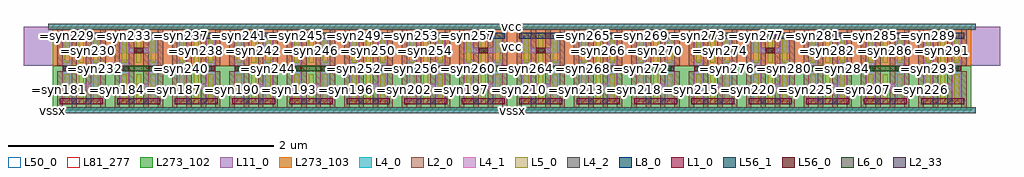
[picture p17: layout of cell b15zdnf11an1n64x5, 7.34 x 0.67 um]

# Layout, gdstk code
import gdstk
lib = gdstk.Library(unit=1e-6, precision=5e-10)
def R(c, l, rs):  # rectangles x0, y0, x1, y1
    for r in rs: c.add(gdstk.rectangle(r[:2], r[2:], *l))
def A(c, l, x, y, w, h, nx, ny, dx, dy):  # array of equal rectangles
    R(c, l, [(x+i*dx, y+j*dy, x+i*dx+w, y+j*dy+h) for i in range(nx) for j in range(ny)])
def P(c, l, *ps):  # polygons
    for p in ps: c.add(gdstk.Polygon(p, *l))
L1_0 = (1, 0)
L2_0 = (2, 0)
L2_33 = (2, 33)
L4_0 = (4, 0)
L4_1 = (4, 1)
L4_2 = (4, 2)
L5_0 = (5, 0)
L6_0 = (6, 0)
L8_0 = (8, 0)
L11_0 = (11, 0)
L50_0 = (50, 0)
L56_0 = (56, 0)
L56_1 = (56, 1)
L81_277 = (81, 277)
L273_102 = (273, 102)
L273_103 = (273, 103)

b15zdnf11an1n64x5 = lib.new_cell('b15zdnf11an1n64x5')
A(b15zdnf11an1n64x5, L1_0, 0.054, 0.045, 0.324, 0.045, 16, 1, 0.432, 0)
R(b15zdnf11an1n64x5, L2_0, [(0.034,0.021,0.074,0.294), (0.142,0.021,0.182,0.609), (0.25,0.021,0.29,0.609), (0.358,0.021,0.398,0.294), (0.466,0.021,0.506,0.294), (0.574,0.021,0.614,0.609), (0.682,0.021,0.722,0.609), (0.79,0.021,0.83,0.294), (0.898,0.021,0.938,0.294), (1.006,0.021,1.046,0.609), (1.114,0.021,1.154,0.609), (1.222,0.021,1.262,0.294), (1.33,0.021,1.37,0.294), (1.438,0.021,1.478,0.609), (1.546,0.021,1.586,0.609), (1.654,0.021,1.694,0.294), (1.762,0.021,1.802,0.294), (1.87,0.021,1.91,0.609), (1.978,0.021,2.018,0.609), (2.086,0.021,2.126,0.294), (2.194,0.021,2.234,0.294), (2.302,0.021,2.342,0.609), (2.41,0.021,2.45,0.609), (2.518,0.021,2.558,0.294), (2.626,0.021,2.666,0.294), (2.734,0.021,2.774,0.609), (2.842,0.021,2.882,0.609), (2.95,0.021,2.99,0.294), (3.058,0.021,3.098,0.294), (3.166,0.021,3.206,0.609), (3.274,0.021,3.314,0.609), (3.382,0.021,3.422,0.294), (3.49,0.021,3.53,0.294), (3.598,0.021,3.638,0.609), (3.706,0.021,3.746,0.609), (3.814,0.021,3.854,0.294), (3.922,0.021,3.962,0.294), (4.03,0.021,4.07,0.609), (4.138,0.021,4.178,0.609), (4.246,0.021,4.286,0.294), (4.354,0.021,4.394,0.294), (4.462,0.021,4.502,0.609), (4.57,0.021,4.61,0.609), (4.678,0.021,4.718,0.294), (4.786,0.021,4.826,0.294), (4.894,0.021,4.934,0.609), (5.002,0.021,5.042,0.609), (5.11,0.021,5.15,0.294), (5.218,0.021,5.258,0.294), (5.326,0.021,5.366,0.609), (5.434,0.021,5.474,0.609), (5.542,0.021,5.582,0.294), (5.65,0.021,5.69,0.294), (5.758,0.021,5.798,0.609), (5.866,0.021,5.906,0.609), (5.974,0.021,6.014,0.294), (6.082,0.021,6.122,0.294), (6.19,0.021,6.23,0.609), (6.298,0.021,6.338,0.609), (6.406,0.021,6.446,0.294), (6.514,0.021,6.554,0.294), (6.622,0.021,6.662,0.609), (6.73,0.021,6.77,0.609), (6.838,0.021,6.878,0.294), (0.034,0.336,0.074,0.609), (0.358,0.336,0.398,0.609), (0.466,0.336,0.506,0.609), (0.79,0.336,0.83,0.609), (0.898,0.336,0.938,0.609), (1.222,0.336,1.262,0.609), (1.33,0.336,1.37,0.609), (1.654,0.336,1.694,0.609), (1.762,0.336,1.802,0.609), (2.086,0.336,2.126,0.609), (2.194,0.336,2.234,0.609), (2.518,0.336,2.558,0.609), (2.626,0.336,2.666,0.609), (2.95,0.336,2.99,0.609), (3.058,0.336,3.098,0.609), (3.382,0.336,3.422,0.609), (3.49,0.336,3.53,0.609), (3.814,0.336,3.854,0.609), (3.922,0.336,3.962,0.609), (4.246,0.336,4.286,0.609), (4.354,0.336,4.394,0.609), (4.678,0.336,4.718,0.609), (4.786,0.336,4.826,0.609), (5.11,0.336,5.15,0.609), (5.218,0.336,5.258,0.609), (5.542,0.336,5.582,0.609), (5.65,0.336,5.69,0.609), (5.974,0.336,6.014,0.609), (6.082,0.336,6.122,0.609), (6.406,0.336,6.446,0.609), (6.514,0.336,6.554,0.609), (6.838,0.336,6.878,0.609)])
R(b15zdnf11an1n64x5, L2_33, [(0.142,0.045,0.182,0.09), (0.25,0.045,0.29,0.09), (0.574,0.045,0.614,0.09), (0.682,0.045,0.722,0.09), (1.006,0.045,1.046,0.09), (1.114,0.045,1.154,0.09), (1.438,0.045,1.478,0.09), (1.546,0.045,1.586,0.09), (1.87,0.045,1.91,0.09), (1.978,0.045,2.018,0.09), (2.302,0.045,2.342,0.09), (2.41,0.045,2.45,0.09), (2.734,0.045,2.774,0.09), (2.842,0.045,2.882,0.09), (3.166,0.045,3.206,0.09), (3.274,0.045,3.314,0.09), (3.598,0.045,3.638,0.09), (3.706,0.045,3.746,0.09), (4.03,0.045,4.07,0.09), (4.138,0.045,4.178,0.09), (4.462,0.045,4.502,0.09), (4.57,0.045,4.61,0.09), (4.894,0.045,4.934,0.09), (5.002,0.045,5.042,0.09), (5.326,0.045,5.366,0.09), (5.434,0.045,5.474,0.09), (5.758,0.045,5.798,0.09), (5.866,0.045,5.906,0.09), (6.19,0.045,6.23,0.09), (6.298,0.045,6.338,0.09), (6.622,0.045,6.662,0.09), (6.73,0.045,6.77,0.09), (0.142,0.54,0.182,0.585), (0.25,0.54,0.29,0.585), (0.574,0.54,0.614,0.585), (0.682,0.54,0.722,0.585), (1.006,0.54,1.046,0.585), (1.114,0.54,1.154,0.585), (1.438,0.54,1.478,0.585), (1.546,0.54,1.586,0.585), (1.87,0.54,1.91,0.585), (1.978,0.54,2.018,0.585), (2.302,0.54,2.342,0.585), (2.41,0.54,2.45,0.585), (2.734,0.54,2.774,0.585), (2.842,0.54,2.882,0.585), (3.166,0.54,3.206,0.585), (3.274,0.54,3.314,0.585), (3.598,0.54,3.638,0.585), (3.706,0.54,3.746,0.585), (4.03,0.54,4.07,0.585), (4.138,0.54,4.178,0.585), (4.462,0.54,4.502,0.585), (4.57,0.54,4.61,0.585), (4.894,0.54,4.934,0.585), (5.002,0.54,5.042,0.585), (5.326,0.54,5.366,0.585), (5.434,0.54,5.474,0.585), (5.758,0.54,5.798,0.585), (5.866,0.54,5.906,0.585), (6.19,0.54,6.23,0.585), (6.298,0.54,6.338,0.585), (6.622,0.54,6.662,0.585), (6.73,0.54,6.77,0.585)])
R(b15zdnf11an1n64x5, L4_0, [(-0.034,-0.022,6.946,0.022), (-0.034,0.608,6.946,0.652)])
P(b15zdnf11an1n64x5, L4_0, [(0.358,0.428),(0.074,0.428),(0.074,0.562),(0.142,0.562),(0.142,0.472),(0.29,0.472),(0.29,0.562),(0.358,0.562)],
  [(0.358,0.068),(0.29,0.068),(0.29,0.158),(0.142,0.158),(0.142,0.068),(0.074,0.068),(0.074,0.382),(0.142,0.382),(0.142,0.202),(0.29,0.202),(0.29,0.382),(0.358,0.382)],
  [(0.79,0.428),(0.506,0.428),(0.506,0.562),(0.574,0.562),(0.574,0.472),(0.722,0.472),(0.722,0.562),(0.79,0.562)],
  [(0.79,0.068),(0.722,0.068),(0.722,0.158),(0.574,0.158),(0.574,0.068),(0.506,0.068),(0.506,0.382),(0.574,0.382),(0.574,0.202),(0.722,0.202),(0.722,0.382),(0.79,0.382)],
  [(1.222,0.428),(0.938,0.428),(0.938,0.562),(1.006,0.562),(1.006,0.472),(1.154,0.472),(1.154,0.562),(1.222,0.562)],
  [(1.222,0.068),(1.154,0.068),(1.154,0.158),(1.006,0.158),(1.006,0.068),(0.938,0.068),(0.938,0.382),(1.006,0.382),(1.006,0.202),(1.154,0.202),(1.154,0.382),(1.222,0.382)],
  [(1.654,0.428),(1.37,0.428),(1.37,0.562),(1.438,0.562),(1.438,0.472),(1.586,0.472),(1.586,0.562),(1.654,0.562)],
  [(1.654,0.068),(1.586,0.068),(1.586,0.158),(1.438,0.158),(1.438,0.068),(1.37,0.068),(1.37,0.382),(1.438,0.382),(1.438,0.202),(1.586,0.202),(1.586,0.382),(1.654,0.382)],
  [(2.086,0.428),(1.802,0.428),(1.802,0.562),(1.87,0.562),(1.87,0.472),(2.018,0.472),(2.018,0.562),(2.086,0.562)],
  [(2.086,0.068),(2.018,0.068),(2.018,0.158),(1.87,0.158),(1.87,0.068),(1.802,0.068),(1.802,0.382),(1.87,0.382),(1.87,0.202),(2.018,0.202),(2.018,0.382),(2.086,0.382)],
  [(2.518,0.428),(2.234,0.428),(2.234,0.562),(2.302,0.562),(2.302,0.472),(2.45,0.472),(2.45,0.562),(2.518,0.562)],
  [(2.518,0.068),(2.45,0.068),(2.45,0.158),(2.302,0.158),(2.302,0.068),(2.234,0.068),(2.234,0.382),(2.302,0.382),(2.302,0.202),(2.45,0.202),(2.45,0.382),(2.518,0.382)],
  [(2.95,0.428),(2.666,0.428),(2.666,0.562),(2.734,0.562),(2.734,0.472),(2.882,0.472),(2.882,0.562),(2.95,0.562)],
  [(2.95,0.068),(2.882,0.068),(2.882,0.158),(2.734,0.158),(2.734,0.068),(2.666,0.068),(2.666,0.382),(2.734,0.382),(2.734,0.202),(2.882,0.202),(2.882,0.382),(2.95,0.382)],
  [(3.382,0.428),(3.098,0.428),(3.098,0.562),(3.166,0.562),(3.166,0.472),(3.314,0.472),(3.314,0.562),(3.382,0.562)],
  [(3.382,0.068),(3.314,0.068),(3.314,0.158),(3.166,0.158),(3.166,0.068),(3.098,0.068),(3.098,0.382),(3.166,0.382),(3.166,0.202),(3.314,0.202),(3.314,0.382),(3.382,0.382)],
  [(3.814,0.428),(3.53,0.428),(3.53,0.562),(3.598,0.562),(3.598,0.472),(3.746,0.472),(3.746,0.562),(3.814,0.562)],
  [(3.814,0.068),(3.746,0.068),(3.746,0.158),(3.598,0.158),(3.598,0.068),(3.53,0.068),(3.53,0.382),(3.598,0.382),(3.598,0.202),(3.746,0.202),(3.746,0.382),(3.814,0.382)],
  [(4.246,0.428),(3.962,0.428),(3.962,0.562),(4.03,0.562),(4.03,0.472),(4.178,0.472),(4.178,0.562),(4.246,0.562)],
  [(4.246,0.068),(4.178,0.068),(4.178,0.158),(4.03,0.158),(4.03,0.068),(3.962,0.068),(3.962,0.382),(4.03,0.382),(4.03,0.202),(4.178,0.202),(4.178,0.382),(4.246,0.382)],
  [(4.678,0.428),(4.394,0.428),(4.394,0.562),(4.462,0.562),(4.462,0.472),(4.61,0.472),(4.61,0.562),(4.678,0.562)],
  [(4.678,0.068),(4.61,0.068),(4.61,0.158),(4.462,0.158),(4.462,0.068),(4.394,0.068),(4.394,0.382),(4.462,0.382),(4.462,0.202),(4.61,0.202),(4.61,0.382),(4.678,0.382)],
  [(5.11,0.428),(4.826,0.428),(4.826,0.562),(4.894,0.562),(4.894,0.472),(5.042,0.472),(5.042,0.562),(5.11,0.562)],
  [(5.11,0.068),(5.042,0.068),(5.042,0.158),(4.894,0.158),(4.894,0.068),(4.826,0.068),(4.826,0.382),(4.894,0.382),(4.894,0.202),(5.042,0.202),(5.042,0.382),(5.11,0.382)],
  [(5.542,0.428),(5.258,0.428),(5.258,0.562),(5.326,0.562),(5.326,0.472),(5.474,0.472),(5.474,0.562),(5.542,0.562)],
  [(5.542,0.068),(5.474,0.068),(5.474,0.158),(5.326,0.158),(5.326,0.068),(5.258,0.068),(5.258,0.382),(5.326,0.382),(5.326,0.202),(5.474,0.202),(5.474,0.382),(5.542,0.382)],
  [(5.974,0.428),(5.69,0.428),(5.69,0.562),(5.758,0.562),(5.758,0.472),(5.906,0.472),(5.906,0.562),(5.974,0.562)],
  [(5.974,0.068),(5.906,0.068),(5.906,0.158),(5.758,0.158),(5.758,0.068),(5.69,0.068),(5.69,0.382),(5.758,0.382),(5.758,0.202),(5.906,0.202),(5.906,0.382),(5.974,0.382)],
  [(6.406,0.428),(6.122,0.428),(6.122,0.562),(6.19,0.562),(6.19,0.472),(6.338,0.472),(6.338,0.562),(6.406,0.562)],
  [(6.406,0.068),(6.338,0.068),(6.338,0.158),(6.19,0.158),(6.19,0.068),(6.122,0.068),(6.122,0.382),(6.19,0.382),(6.19,0.202),(6.338,0.202),(6.338,0.382),(6.406,0.382)],
  [(6.838,0.428),(6.554,0.428),(6.554,0.562),(6.622,0.562),(6.622,0.472),(6.77,0.472),(6.77,0.562),(6.838,0.562)],
  [(6.838,0.068),(6.77,0.068),(6.77,0.158),(6.622,0.158),(6.622,0.068),(6.554,0.068),(6.554,0.382),(6.622,0.382),(6.622,0.202),(6.77,0.202),(6.77,0.382),(6.838,0.382)])
P(b15zdnf11an1n64x5, L4_1, [(0.358,0.428),(0.074,0.428),(0.074,0.562),(0.142,0.562),(0.142,0.472),(0.29,0.472),(0.29,0.562),(0.358,0.562)],
  [(0.358,0.068),(0.29,0.068),(0.29,0.158),(0.142,0.158),(0.142,0.068),(0.074,0.068),(0.074,0.382),(0.142,0.382),(0.142,0.202),(0.29,0.202),(0.29,0.382),(0.358,0.382)],
  [(0.79,0.428),(0.506,0.428),(0.506,0.562),(0.574,0.562),(0.574,0.472),(0.722,0.472),(0.722,0.562),(0.79,0.562)],
  [(0.79,0.068),(0.722,0.068),(0.722,0.158),(0.574,0.158),(0.574,0.068),(0.506,0.068),(0.506,0.382),(0.574,0.382),(0.574,0.202),(0.722,0.202),(0.722,0.382),(0.79,0.382)],
  [(1.222,0.428),(0.938,0.428),(0.938,0.562),(1.006,0.562),(1.006,0.472),(1.154,0.472),(1.154,0.562),(1.222,0.562)],
  [(1.222,0.068),(1.154,0.068),(1.154,0.158),(1.006,0.158),(1.006,0.068),(0.938,0.068),(0.938,0.382),(1.006,0.382),(1.006,0.202),(1.154,0.202),(1.154,0.382),(1.222,0.382)],
  [(1.654,0.428),(1.37,0.428),(1.37,0.562),(1.438,0.562),(1.438,0.472),(1.586,0.472),(1.586,0.562),(1.654,0.562)],
  [(1.654,0.068),(1.586,0.068),(1.586,0.158),(1.438,0.158),(1.438,0.068),(1.37,0.068),(1.37,0.382),(1.438,0.382),(1.438,0.202),(1.586,0.202),(1.586,0.382),(1.654,0.382)],
  [(2.086,0.428),(1.802,0.428),(1.802,0.562),(1.87,0.562),(1.87,0.472),(2.018,0.472),(2.018,0.562),(2.086,0.562)],
  [(2.086,0.068),(2.018,0.068),(2.018,0.158),(1.87,0.158),(1.87,0.068),(1.802,0.068),(1.802,0.382),(1.87,0.382),(1.87,0.202),(2.018,0.202),(2.018,0.382),(2.086,0.382)],
  [(2.518,0.428),(2.234,0.428),(2.234,0.562),(2.302,0.562),(2.302,0.472),(2.45,0.472),(2.45,0.562),(2.518,0.562)],
  [(2.518,0.068),(2.45,0.068),(2.45,0.158),(2.302,0.158),(2.302,0.068),(2.234,0.068),(2.234,0.382),(2.302,0.382),(2.302,0.202),(2.45,0.202),(2.45,0.382),(2.518,0.382)],
  [(2.95,0.428),(2.666,0.428),(2.666,0.562),(2.734,0.562),(2.734,0.472),(2.882,0.472),(2.882,0.562),(2.95,0.562)],
  [(2.95,0.068),(2.882,0.068),(2.882,0.158),(2.734,0.158),(2.734,0.068),(2.666,0.068),(2.666,0.382),(2.734,0.382),(2.734,0.202),(2.882,0.202),(2.882,0.382),(2.95,0.382)],
  [(3.382,0.428),(3.098,0.428),(3.098,0.562),(3.166,0.562),(3.166,0.472),(3.314,0.472),(3.314,0.562),(3.382,0.562)],
  [(3.382,0.068),(3.314,0.068),(3.314,0.158),(3.166,0.158),(3.166,0.068),(3.098,0.068),(3.098,0.382),(3.166,0.382),(3.166,0.202),(3.314,0.202),(3.314,0.382),(3.382,0.382)],
  [(3.814,0.428),(3.53,0.428),(3.53,0.562),(3.598,0.562),(3.598,0.472),(3.746,0.472),(3.746,0.562),(3.814,0.562)],
  [(3.814,0.068),(3.746,0.068),(3.746,0.158),(3.598,0.158),(3.598,0.068),(3.53,0.068),(3.53,0.382),(3.598,0.382),(3.598,0.202),(3.746,0.202),(3.746,0.382),(3.814,0.382)],
  [(4.246,0.428),(3.962,0.428),(3.962,0.562),(4.03,0.562),(4.03,0.472),(4.178,0.472),(4.178,0.562),(4.246,0.562)],
  [(4.246,0.068),(4.178,0.068),(4.178,0.158),(4.03,0.158),(4.03,0.068),(3.962,0.068),(3.962,0.382),(4.03,0.382),(4.03,0.202),(4.178,0.202),(4.178,0.382),(4.246,0.382)],
  [(4.678,0.428),(4.394,0.428),(4.394,0.562),(4.462,0.562),(4.462,0.472),(4.61,0.472),(4.61,0.562),(4.678,0.562)],
  [(4.678,0.068),(4.61,0.068),(4.61,0.158),(4.462,0.158),(4.462,0.068),(4.394,0.068),(4.394,0.382),(4.462,0.382),(4.462,0.202),(4.61,0.202),(4.61,0.382),(4.678,0.382)],
  [(5.11,0.428),(4.826,0.428),(4.826,0.562),(4.894,0.562),(4.894,0.472),(5.042,0.472),(5.042,0.562),(5.11,0.562)],
  [(5.11,0.068),(5.042,0.068),(5.042,0.158),(4.894,0.158),(4.894,0.068),(4.826,0.068),(4.826,0.382),(4.894,0.382),(4.894,0.202),(5.042,0.202),(5.042,0.382),(5.11,0.382)],
  [(5.542,0.428),(5.258,0.428),(5.258,0.562),(5.326,0.562),(5.326,0.472),(5.474,0.472),(5.474,0.562),(5.542,0.562)],
  [(5.542,0.068),(5.474,0.068),(5.474,0.158),(5.326,0.158),(5.326,0.068),(5.258,0.068),(5.258,0.382),(5.326,0.382),(5.326,0.202),(5.474,0.202),(5.474,0.382),(5.542,0.382)],
  [(5.974,0.428),(5.69,0.428),(5.69,0.562),(5.758,0.562),(5.758,0.472),(5.906,0.472),(5.906,0.562),(5.974,0.562)],
  [(5.974,0.068),(5.906,0.068),(5.906,0.158),(5.758,0.158),(5.758,0.068),(5.69,0.068),(5.69,0.382),(5.758,0.382),(5.758,0.202),(5.906,0.202),(5.906,0.382),(5.974,0.382)],
  [(6.406,0.428),(6.122,0.428),(6.122,0.562),(6.19,0.562),(6.19,0.472),(6.338,0.472),(6.338,0.562),(6.406,0.562)],
  [(6.406,0.068),(6.338,0.068),(6.338,0.158),(6.19,0.158),(6.19,0.068),(6.122,0.068),(6.122,0.382),(6.19,0.382),(6.19,0.202),(6.338,0.202),(6.338,0.382),(6.406,0.382)],
  [(6.838,0.428),(6.554,0.428),(6.554,0.562),(6.622,0.562),(6.622,0.472),(6.77,0.472),(6.77,0.562),(6.838,0.562)],
  [(6.838,0.068),(6.77,0.068),(6.77,0.158),(6.622,0.158),(6.622,0.068),(6.554,0.068),(6.554,0.382),(6.622,0.382),(6.622,0.202),(6.77,0.202),(6.77,0.382),(6.838,0.382)])
R(b15zdnf11an1n64x5, L4_2, [(-0.034,-0.022,6.946,0.022), (-0.034,0.608,6.946,0.652)])
A(b15zdnf11an1n64x5, L5_0, 0.089, 0.045, 0.038, 0.225, 3, 2, 0.108, 0.315)
A(b15zdnf11an1n64x5, L5_0, 0.521, 0.045, 0.038, 0.225, 3, 2, 0.108, 0.315)
A(b15zdnf11an1n64x5, L5_0, 0.953, 0.045, 0.038, 0.225, 3, 2, 0.108, 0.315)
A(b15zdnf11an1n64x5, L5_0, 1.385, 0.045, 0.038, 0.225, 3, 2, 0.108, 0.315)
A(b15zdnf11an1n64x5, L5_0, 1.817, 0.045, 0.038, 0.225, 3, 2, 0.108, 0.315)
A(b15zdnf11an1n64x5, L5_0, 2.249, 0.045, 0.038, 0.225, 3, 2, 0.108, 0.315)
A(b15zdnf11an1n64x5, L5_0, 2.681, 0.045, 0.038, 0.225, 3, 2, 0.108, 0.315)
A(b15zdnf11an1n64x5, L5_0, 3.113, 0.045, 0.038, 0.225, 3, 2, 0.108, 0.315)
A(b15zdnf11an1n64x5, L5_0, 3.545, 0.045, 0.038, 0.225, 3, 2, 0.108, 0.315)
A(b15zdnf11an1n64x5, L5_0, 3.977, 0.045, 0.038, 0.225, 3, 2, 0.108, 0.315)
A(b15zdnf11an1n64x5, L5_0, 4.409, 0.045, 0.038, 0.225, 3, 2, 0.108, 0.315)
A(b15zdnf11an1n64x5, L5_0, 4.841, 0.045, 0.038, 0.225, 3, 2, 0.108, 0.315)
A(b15zdnf11an1n64x5, L5_0, 5.273, 0.045, 0.038, 0.225, 3, 2, 0.108, 0.315)
A(b15zdnf11an1n64x5, L5_0, 5.705, 0.045, 0.038, 0.225, 3, 2, 0.108, 0.315)
A(b15zdnf11an1n64x5, L5_0, 6.137, 0.045, 0.038, 0.225, 3, 2, 0.108, 0.315)
A(b15zdnf11an1n64x5, L5_0, 6.569, 0.045, 0.038, 0.225, 3, 2, 0.108, 0.315)
A(b15zdnf11an1n64x5, L6_0, 0.099, 0.296, 0.234, 0.038, 16, 1, 0.432, 0)
A(b15zdnf11an1n64x5, L8_0, 0.054, 0.54, 0.324, 0.045, 16, 1, 0.432, 0)
R(b15zdnf11an1n64x5, L11_0, [(-0.216,0.3375,7.128,0.63)])
R(b15zdnf11an1n64x5, L50_0, [(0,0,6.912,0.63)])
A(b15zdnf11an1n64x5, L56_0, 0.074, 0.293, 0.068, 0.044, 32, 1, 0.216, 0)
A(b15zdnf11an1n64x5, L56_0, 0.182, 0.428, 0.068, 0.044, 16, 1, 0.432, 0)
A(b15zdnf11an1n64x5, L56_1, 0.074, 0.293, 0.068, 0.044, 32, 1, 0.216, 0)
A(b15zdnf11an1n64x5, L56_1, 0.182, 0.428, 0.068, 0.044, 16, 1, 0.432, 0)
R(b15zdnf11an1n64x5, L81_277, [(0,0,6.912,0.63)])
R(b15zdnf11an1n64x5, L273_102, [(0,0,6.912,0.3375)])
R(b15zdnf11an1n64x5, L273_103, [(0,0.3375,6.912,0.63)])
b15zdnf11an1n64x5.add(gdstk.Label('vssx', (0,0), layer=81, texttype=6))
b15zdnf11an1n64x5.add(gdstk.Label('vcc', (3.456,0.484), layer=11, texttype=0))
b15zdnf11an1n64x5.add(gdstk.Label('=syn229', (0.108,0.5625), layer=8, texttype=0))
b15zdnf11an1n64x5.add(gdstk.Label('=syn233', (0.54,0.5625), layer=8, texttype=0))
b15zdnf11an1n64x5.add(gdstk.Label('=syn237', (0.972,0.5625), layer=8, texttype=0))
b15zdnf11an1n64x5.add(gdstk.Label('=syn241', (1.404,0.5625), layer=8, texttype=0))
b15zdnf11an1n64x5.add(gdstk.Label('=syn245', (1.836,0.5625), layer=8, texttype=0))
b15zdnf11an1n64x5.add(gdstk.Label('=syn249', (2.268,0.5625), layer=8, texttype=0))
b15zdnf11an1n64x5.add(gdstk.Label('=syn253', (2.7,0.5625), layer=8, texttype=0))
b15zdnf11an1n64x5.add(gdstk.Label('=syn257', (3.132,0.5625), layer=8, texttype=0))
b15zdnf11an1n64x5.add(gdstk.Label('=syn261', (3.564,0.5625), layer=8, texttype=0))
b15zdnf11an1n64x5.add(gdstk.Label('=syn265', (3.996,0.5625), layer=8, texttype=0))
b15zdnf11an1n64x5.add(gdstk.Label('=syn269', (4.428,0.5625), layer=8, texttype=0))
b15zdnf11an1n64x5.add(gdstk.Label('=syn273', (4.86,0.5625), layer=8, texttype=0))
b15zdnf11an1n64x5.add(gdstk.Label('=syn277', (5.292,0.5625), layer=8, texttype=0))
b15zdnf11an1n64x5.add(gdstk.Label('=syn281', (5.724,0.5625), layer=8, texttype=0))
b15zdnf11an1n64x5.add(gdstk.Label('=syn285', (6.156,0.5625), layer=8, texttype=0))
b15zdnf11an1n64x5.add(gdstk.Label('=syn289', (6.588,0.5625), layer=8, texttype=0))
b15zdnf11an1n64x5.add(gdstk.Label('=syn230', (0.27,0.45), layer=4, texttype=0))
b15zdnf11an1n64x5.add(gdstk.Label('=syn232', (0.324,0.315), layer=4, texttype=0))
b15zdnf11an1n64x5.add(gdstk.Label('=syn234', (0.648,0.45), layer=4, texttype=0))
b15zdnf11an1n64x5.add(gdstk.Label('=syn236', (0.54,0.315), layer=4, texttype=0))
b15zdnf11an1n64x5.add(gdstk.Label('=syn238', (1.08,0.45), layer=4, texttype=0))
b15zdnf11an1n64x5.add(gdstk.Label('=syn240', (0.972,0.315), layer=4, texttype=0))
b15zdnf11an1n64x5.add(gdstk.Label('=syn242', (1.512,0.45), layer=4, texttype=0))
b15zdnf11an1n64x5.add(gdstk.Label('=syn244', (1.62,0.315), layer=4, texttype=0))
b15zdnf11an1n64x5.add(gdstk.Label('=syn246', (1.89,0.45), layer=4, texttype=0))
b15zdnf11an1n64x5.add(gdstk.Label('=syn248', (1.836,0.315), layer=4, texttype=0))
b15zdnf11an1n64x5.add(gdstk.Label('=syn250', (2.376,0.45), layer=4, texttype=0))
b15zdnf11an1n64x5.add(gdstk.Label('=syn252', (2.268,0.315), layer=4, texttype=0))
b15zdnf11an1n64x5.add(gdstk.Label('=syn254', (2.916,0.495), layer=4, texttype=0))
b15zdnf11an1n64x5.add(gdstk.Label('=syn256', (2.7,0.315), layer=4, texttype=0))
b15zdnf11an1n64x5.add(gdstk.Label('=syn258', (3.24,0.45), layer=4, texttype=0))
b15zdnf11an1n64x5.add(gdstk.Label('=syn260', (3.132,0.315), layer=4, texttype=0))
b15zdnf11an1n64x5.add(gdstk.Label('=syn262', (3.672,0.45), layer=4, texttype=0))
b15zdnf11an1n64x5.add(gdstk.Label('=syn264', (3.564,0.315), layer=4, texttype=0))
b15zdnf11an1n64x5.add(gdstk.Label('=syn266', (3.996,0.495), layer=4, texttype=0))
b15zdnf11an1n64x5.add(gdstk.Label('=syn268', (3.996,0.315), layer=4, texttype=0))
b15zdnf11an1n64x5.add(gdstk.Label('=syn270', (4.536,0.45), layer=4, texttype=0))
b15zdnf11an1n64x5.add(gdstk.Label('=syn272', (4.428,0.315), layer=4, texttype=0))
b15zdnf11an1n64x5.add(gdstk.Label('=syn274', (5.022,0.45), layer=4, texttype=0))
b15zdnf11an1n64x5.add(gdstk.Label('=syn276', (5.076,0.315), layer=4, texttype=0))
b15zdnf11an1n64x5.add(gdstk.Label('=syn278', (5.4,0.45), layer=4, texttype=0))
b15zdnf11an1n64x5.add(gdstk.Label('=syn280', (5.508,0.315), layer=4, texttype=0))
b15zdnf11an1n64x5.add(gdstk.Label('=syn282', (5.832,0.45), layer=4, texttype=0))
b15zdnf11an1n64x5.add(gdstk.Label('=syn284', (5.94,0.315), layer=4, texttype=0))
b15zdnf11an1n64x5.add(gdstk.Label('=syn286', (6.264,0.45), layer=4, texttype=0))
b15zdnf11an1n64x5.add(gdstk.Label('=syn288', (6.156,0.315), layer=4, texttype=0))
b15zdnf11an1n64x5.add(gdstk.Label('=syn291', (6.642,0.45), layer=4, texttype=0))
b15zdnf11an1n64x5.add(gdstk.Label('=syn293', (6.588,0.315), layer=4, texttype=0))
b15zdnf11an1n64x5.add(gdstk.Label('vcc', (3.456,0.63), layer=4, texttype=0))
b15zdnf11an1n64x5.add(gdstk.Label('vssx', (3.456,0), layer=4, texttype=0))
b15zdnf11an1n64x5.add(gdstk.Label('vcc', (3.456,0.63), layer=4, texttype=2))
b15zdnf11an1n64x5.add(gdstk.Label('vssx', (3.456,0), layer=4, texttype=2))
b15zdnf11an1n64x5.add(gdstk.Label('=syn182', (0.054,0.4725), layer=2, texttype=0))
b15zdnf11an1n64x5.add(gdstk.Label('=syn181', (0.054,0.1575), layer=2, texttype=0))
b15zdnf11an1n64x5.add(gdstk.Label('=syn232', (0.162,0.5625), layer=2, texttype=0))
b15zdnf11an1n64x5.add(gdstk.Label('=syn232', (0.27,0.5625), layer=2, texttype=0))
b15zdnf11an1n64x5.add(gdstk.Label('=syn41', (0.378,0.4725), layer=2, texttype=0))
b15zdnf11an1n64x5.add(gdstk.Label('=syn39', (0.378,0.1575), layer=2, texttype=0))
b15zdnf11an1n64x5.add(gdstk.Label('=syn185', (0.486,0.4725), layer=2, texttype=0))
b15zdnf11an1n64x5.add(gdstk.Label('=syn184', (0.486,0.1575), layer=2, texttype=0))
b15zdnf11an1n64x5.add(gdstk.Label('=syn236', (0.594,0.5625), layer=2, texttype=0))
b15zdnf11an1n64x5.add(gdstk.Label('=syn236', (0.702,0.5625), layer=2, texttype=0))
b15zdnf11an1n64x5.add(gdstk.Label('=syn47', (0.81,0.4725), layer=2, texttype=0))
b15zdnf11an1n64x5.add(gdstk.Label('=syn45', (0.81,0.1575), layer=2, texttype=0))
b15zdnf11an1n64x5.add(gdstk.Label('=syn188', (0.918,0.4725), layer=2, texttype=0))
b15zdnf11an1n64x5.add(gdstk.Label('=syn187', (0.918,0.1575), layer=2, texttype=0))
b15zdnf11an1n64x5.add(gdstk.Label('=syn240', (1.026,0.5625), layer=2, texttype=0))
b15zdnf11an1n64x5.add(gdstk.Label('=syn240', (1.134,0.5625), layer=2, texttype=0))
b15zdnf11an1n64x5.add(gdstk.Label('=syn54', (1.242,0.4725), layer=2, texttype=0))
b15zdnf11an1n64x5.add(gdstk.Label('=syn53', (1.242,0.1575), layer=2, texttype=0))
b15zdnf11an1n64x5.add(gdstk.Label('=syn191', (1.35,0.4725), layer=2, texttype=0))
b15zdnf11an1n64x5.add(gdstk.Label('=syn190', (1.35,0.1575), layer=2, texttype=0))
b15zdnf11an1n64x5.add(gdstk.Label('=syn244', (1.458,0.5625), layer=2, texttype=0))
b15zdnf11an1n64x5.add(gdstk.Label('=syn244', (1.566,0.5625), layer=2, texttype=0))
b15zdnf11an1n64x5.add(gdstk.Label('=syn48', (1.674,0.4725), layer=2, texttype=0))
b15zdnf11an1n64x5.add(gdstk.Label('=syn46', (1.674,0.1575), layer=2, texttype=0))
b15zdnf11an1n64x5.add(gdstk.Label('=syn194', (1.782,0.4725), layer=2, texttype=0))
b15zdnf11an1n64x5.add(gdstk.Label('=syn193', (1.782,0.1575), layer=2, texttype=0))
b15zdnf11an1n64x5.add(gdstk.Label('=syn248', (1.89,0.5625), layer=2, texttype=0))
b15zdnf11an1n64x5.add(gdstk.Label('=syn248', (1.998,0.5625), layer=2, texttype=0))
b15zdnf11an1n64x5.add(gdstk.Label('=syn58', (2.106,0.4725), layer=2, texttype=0))
b15zdnf11an1n64x5.add(gdstk.Label('=syn55', (2.106,0.1575), layer=2, texttype=0))
b15zdnf11an1n64x5.add(gdstk.Label('=syn198', (2.214,0.4725), layer=2, texttype=0))
b15zdnf11an1n64x5.add(gdstk.Label('=syn196', (2.214,0.1575), layer=2, texttype=0))
b15zdnf11an1n64x5.add(gdstk.Label('=syn252', (2.322,0.5625), layer=2, texttype=0))
b15zdnf11an1n64x5.add(gdstk.Label('=syn252', (2.43,0.5625), layer=2, texttype=0))
b15zdnf11an1n64x5.add(gdstk.Label('=syn63', (2.538,0.4725), layer=2, texttype=0))
b15zdnf11an1n64x5.add(gdstk.Label('=syn61', (2.538,0.1575), layer=2, texttype=0))
b15zdnf11an1n64x5.add(gdstk.Label('=syn203', (2.646,0.4725), layer=2, texttype=0))
b15zdnf11an1n64x5.add(gdstk.Label('=syn202', (2.646,0.1575), layer=2, texttype=0))
b15zdnf11an1n64x5.add(gdstk.Label('=syn256', (2.754,0.5625), layer=2, texttype=0))
b15zdnf11an1n64x5.add(gdstk.Label('=syn256', (2.862,0.5625), layer=2, texttype=0))
b15zdnf11an1n64x5.add(gdstk.Label('=syn6', (2.97,0.4725), layer=2, texttype=0))
b15zdnf11an1n64x5.add(gdstk.Label('=syn5', (2.97,0.1575), layer=2, texttype=0))
b15zdnf11an1n64x5.add(gdstk.Label('=syn199', (3.078,0.4725), layer=2, texttype=0))
b15zdnf11an1n64x5.add(gdstk.Label('=syn197', (3.078,0.1575), layer=2, texttype=0))
b15zdnf11an1n64x5.add(gdstk.Label('=syn260', (3.186,0.5625), layer=2, texttype=0))
b15zdnf11an1n64x5.add(gdstk.Label('=syn260', (3.294,0.5625), layer=2, texttype=0))
b15zdnf11an1n64x5.add(gdstk.Label('=syn64', (3.402,0.4725), layer=2, texttype=0))
b15zdnf11an1n64x5.add(gdstk.Label('=syn62', (3.402,0.1575), layer=2, texttype=0))
b15zdnf11an1n64x5.add(gdstk.Label('=syn211', (3.51,0.4725), layer=2, texttype=0))
b15zdnf11an1n64x5.add(gdstk.Label('=syn210', (3.51,0.1575), layer=2, texttype=0))
b15zdnf11an1n64x5.add(gdstk.Label('=syn264', (3.618,0.5625), layer=2, texttype=0))
b15zdnf11an1n64x5.add(gdstk.Label('=syn264', (3.726,0.5625), layer=2, texttype=0))
b15zdnf11an1n64x5.add(gdstk.Label('=syn12', (3.834,0.4725), layer=2, texttype=0))
b15zdnf11an1n64x5.add(gdstk.Label('=syn9', (3.834,0.1575), layer=2, texttype=0))
b15zdnf11an1n64x5.add(gdstk.Label('=syn214', (3.942,0.4725), layer=2, texttype=0))
b15zdnf11an1n64x5.add(gdstk.Label('=syn213', (3.942,0.1575), layer=2, texttype=0))
b15zdnf11an1n64x5.add(gdstk.Label('=syn268', (4.05,0.5625), layer=2, texttype=0))
b15zdnf11an1n64x5.add(gdstk.Label('=syn268', (4.158,0.5625), layer=2, texttype=0))
b15zdnf11an1n64x5.add(gdstk.Label('=syn20', (4.266,0.4725), layer=2, texttype=0))
b15zdnf11an1n64x5.add(gdstk.Label('=syn18', (4.266,0.1575), layer=2, texttype=0))
b15zdnf11an1n64x5.add(gdstk.Label('=syn221', (4.374,0.4725), layer=2, texttype=0))
b15zdnf11an1n64x5.add(gdstk.Label('=syn218', (4.374,0.1575), layer=2, texttype=0))
b15zdnf11an1n64x5.add(gdstk.Label('=syn272', (4.482,0.5625), layer=2, texttype=0))
b15zdnf11an1n64x5.add(gdstk.Label('=syn272', (4.59,0.5625), layer=2, texttype=0))
b15zdnf11an1n64x5.add(gdstk.Label('=syn25', (4.698,0.4725), layer=2, texttype=0))
b15zdnf11an1n64x5.add(gdstk.Label('=syn32', (4.698,0.1575), layer=2, texttype=0))
b15zdnf11an1n64x5.add(gdstk.Label('=syn217', (4.806,0.4725), layer=2, texttype=0))
b15zdnf11an1n64x5.add(gdstk.Label('=syn215', (4.806,0.1575), layer=2, texttype=0))
b15zdnf11an1n64x5.add(gdstk.Label('=syn276', (4.914,0.5625), layer=2, texttype=0))
b15zdnf11an1n64x5.add(gdstk.Label('=syn276', (5.022,0.5625), layer=2, texttype=0))
b15zdnf11an1n64x5.add(gdstk.Label('=syn29', (5.13,0.4725), layer=2, texttype=0))
b15zdnf11an1n64x5.add(gdstk.Label('=syn24', (5.13,0.1575), layer=2, texttype=0))
b15zdnf11an1n64x5.add(gdstk.Label('=syn222', (5.238,0.4725), layer=2, texttype=0))
b15zdnf11an1n64x5.add(gdstk.Label('=syn220', (5.238,0.1575), layer=2, texttype=0))
b15zdnf11an1n64x5.add(gdstk.Label('=syn280', (5.346,0.5625), layer=2, texttype=0))
b15zdnf11an1n64x5.add(gdstk.Label('=syn280', (5.454,0.5625), layer=2, texttype=0))
b15zdnf11an1n64x5.add(gdstk.Label('=syn28', (5.562,0.4725), layer=2, texttype=0))
b15zdnf11an1n64x5.add(gdstk.Label('=syn23', (5.562,0.1575), layer=2, texttype=0))
b15zdnf11an1n64x5.add(gdstk.Label('=syn227', (5.67,0.4725), layer=2, texttype=0))
b15zdnf11an1n64x5.add(gdstk.Label('=syn225', (5.67,0.1575), layer=2, texttype=0))
b15zdnf11an1n64x5.add(gdstk.Label('=syn284', (5.778,0.5625), layer=2, texttype=0))
b15zdnf11an1n64x5.add(gdstk.Label('=syn284', (5.886,0.5625), layer=2, texttype=0))
b15zdnf11an1n64x5.add(gdstk.Label('=syn40', (5.994,0.4725), layer=2, texttype=0))
b15zdnf11an1n64x5.add(gdstk.Label('=syn37', (5.994,0.1575), layer=2, texttype=0))
b15zdnf11an1n64x5.add(gdstk.Label('=syn208', (6.102,0.4725), layer=2, texttype=0))
b15zdnf11an1n64x5.add(gdstk.Label('=syn207', (6.102,0.1575), layer=2, texttype=0))
b15zdnf11an1n64x5.add(gdstk.Label('=syn288', (6.21,0.5625), layer=2, texttype=0))
b15zdnf11an1n64x5.add(gdstk.Label('=syn288', (6.318,0.5625), layer=2, texttype=0))
b15zdnf11an1n64x5.add(gdstk.Label('=syn19', (6.426,0.4725), layer=2, texttype=0))
b15zdnf11an1n64x5.add(gdstk.Label('=syn17', (6.426,0.1575), layer=2, texttype=0))
b15zdnf11an1n64x5.add(gdstk.Label('=syn228', (6.534,0.4725), layer=2, texttype=0))
b15zdnf11an1n64x5.add(gdstk.Label('=syn226', (6.534,0.1575), layer=2, texttype=0))
b15zdnf11an1n64x5.add(gdstk.Label('=syn293', (6.642,0.5625), layer=2, texttype=0))
b15zdnf11an1n64x5.add(gdstk.Label('=syn293', (6.75,0.5625), layer=2, texttype=0))
b15zdnf11an1n64x5.add(gdstk.Label('=syn42', (6.858,0.4725), layer=2, texttype=0))
b15zdnf11an1n64x5.add(gdstk.Label('=syn38', (6.858,0.1575), layer=2, texttype=0))
b15zdnf11an1n64x5.add(gdstk.Label('=syn43', (0.216,0.0675), layer=1, texttype=0))
b15zdnf11an1n64x5.add(gdstk.Label('=syn49', (0.648,0.0675), layer=1, texttype=0))
b15zdnf11an1n64x5.add(gdstk.Label('=syn57', (1.188,0.0675), layer=1, texttype=0))
b15zdnf11an1n64x5.add(gdstk.Label('=syn52', (1.62,0.0675), layer=1, texttype=0))
b15zdnf11an1n64x5.add(gdstk.Label('=syn195', (1.836,0.0675), layer=1, texttype=0))
b15zdnf11an1n64x5.add(gdstk.Label('=syn1', (2.376,0.0675), layer=1, texttype=0))
b15zdnf11an1n64x5.add(gdstk.Label('=syn8', (2.916,0.0675), layer=1, texttype=0))
b15zdnf11an1n64x5.add(gdstk.Label('=syn4', (3.348,0.0675), layer=1, texttype=0))
b15zdnf11an1n64x5.add(gdstk.Label('=syn16', (3.78,0.0675), layer=1, texttype=0))
b15zdnf11an1n64x5.add(gdstk.Label('=syn216', (3.996,0.0675), layer=1, texttype=0))
b15zdnf11an1n64x5.add(gdstk.Label('=syn223', (4.428,0.0675), layer=1, texttype=0))
b15zdnf11an1n64x5.add(gdstk.Label('=syn35', (4.968,0.0675), layer=1, texttype=0))
b15zdnf11an1n64x5.add(gdstk.Label('=syn34', (5.508,0.0675), layer=1, texttype=0))
b15zdnf11an1n64x5.add(gdstk.Label('=syn11', (5.94,0.0675), layer=1, texttype=0))
b15zdnf11an1n64x5.add(gdstk.Label('=syn22', (6.372,0.0675), layer=1, texttype=0))
b15zdnf11an1n64x5.add(gdstk.Label('=syn206', (6.588,0.0675), layer=1, texttype=0))
b15zdnf11an1n64x5.add(gdstk.Label('=syn232', (0.324,0.315), layer=6, texttype=0))
b15zdnf11an1n64x5.add(gdstk.Label('=syn236', (0.54,0.315), layer=6, texttype=0))
b15zdnf11an1n64x5.add(gdstk.Label('=syn240', (0.972,0.315), layer=6, texttype=0))
b15zdnf11an1n64x5.add(gdstk.Label('=syn244', (1.478,0.315), layer=6, texttype=0))
b15zdnf11an1n64x5.add(gdstk.Label('=syn248', (1.836,0.315), layer=6, texttype=0))
b15zdnf11an1n64x5.add(gdstk.Label('=syn252', (2.268,0.315), layer=6, texttype=0))
b15zdnf11an1n64x5.add(gdstk.Label('=syn256', (2.7,0.315), layer=6, texttype=0))
b15zdnf11an1n64x5.add(gdstk.Label('=syn260', (3.132,0.315), layer=6, texttype=0))
b15zdnf11an1n64x5.add(gdstk.Label('=syn264', (3.564,0.315), layer=6, texttype=0))
b15zdnf11an1n64x5.add(gdstk.Label('=syn268', (3.996,0.315), layer=6, texttype=0))
b15zdnf11an1n64x5.add(gdstk.Label('=syn272', (4.428,0.315), layer=6, texttype=0))
b15zdnf11an1n64x5.add(gdstk.Label('=syn276', (5.076,0.315), layer=6, texttype=0))
b15zdnf11an1n64x5.add(gdstk.Label('=syn280', (5.508,0.315), layer=6, texttype=0))
b15zdnf11an1n64x5.add(gdstk.Label('=syn284', (5.94,0.315), layer=6, texttype=0))
b15zdnf11an1n64x5.add(gdstk.Label('=syn288', (6.318,0.315), layer=6, texttype=0))
b15zdnf11an1n64x5.add(gdstk.Label('=syn293', (6.588,0.315), layer=6, texttype=0))
b15zdnf11an1n64x5.add(gdstk.Label('=syn229', (0.108,0.5625), layer=5, texttype=0))
b15zdnf11an1n64x5.add(gdstk.Label('=syn183', (0.108,0.18), layer=5, texttype=0))
b15zdnf11an1n64x5.add(gdstk.Label('=syn230', (0.216,0.45), layer=5, texttype=0))
b15zdnf11an1n64x5.add(gdstk.Label('=syn43', (0.216,0.18), layer=5, texttype=0))
b15zdnf11an1n64x5.add(gdstk.Label('=syn231', (0.324,0.4725), layer=5, texttype=0))
b15zdnf11an1n64x5.add(gdstk.Label('=syn44', (0.324,0.0675), layer=5, texttype=0))
b15zdnf11an1n64x5.add(gdstk.Label('=syn233', (0.54,0.5625), layer=5, texttype=0))
b15zdnf11an1n64x5.add(gdstk.Label('=syn186', (0.54,0.18), layer=5, texttype=0))
b15zdnf11an1n64x5.add(gdstk.Label('=syn234', (0.648,0.45), layer=5, texttype=0))
b15zdnf11an1n64x5.add(gdstk.Label('=syn49', (0.648,0.0675), layer=5, texttype=0))
b15zdnf11an1n64x5.add(gdstk.Label('=syn235', (0.756,0.4725), layer=5, texttype=0))
b15zdnf11an1n64x5.add(gdstk.Label('=syn50', (0.756,0.0675), layer=5, texttype=0))
b15zdnf11an1n64x5.add(gdstk.Label('=syn237', (0.972,0.5625), layer=5, texttype=0))
b15zdnf11an1n64x5.add(gdstk.Label('=syn189', (0.972,0.18), layer=5, texttype=0))
b15zdnf11an1n64x5.add(gdstk.Label('=syn238', (1.08,0.45), layer=5, texttype=0))
b15zdnf11an1n64x5.add(gdstk.Label('=syn56', (1.08,0.0675), layer=5, texttype=0))
b15zdnf11an1n64x5.add(gdstk.Label('=syn239', (1.188,0.4725), layer=5, texttype=0))
b15zdnf11an1n64x5.add(gdstk.Label('=syn57', (1.188,0.0675), layer=5, texttype=0))
b15zdnf11an1n64x5.add(gdstk.Label('=syn241', (1.404,0.45), layer=5, texttype=0))
b15zdnf11an1n64x5.add(gdstk.Label('=syn192', (1.404,0.18), layer=5, texttype=0))
b15zdnf11an1n64x5.add(gdstk.Label('=syn242', (1.512,0.45), layer=5, texttype=0))
b15zdnf11an1n64x5.add(gdstk.Label('=syn51', (1.512,0.0675), layer=5, texttype=0))
b15zdnf11an1n64x5.add(gdstk.Label('=syn243', (1.62,0.4725), layer=5, texttype=0))
b15zdnf11an1n64x5.add(gdstk.Label('=syn52', (1.62,0.0675), layer=5, texttype=0))
b15zdnf11an1n64x5.add(gdstk.Label('=syn245', (1.836,0.5625), layer=5, texttype=0))
b15zdnf11an1n64x5.add(gdstk.Label('=syn195', (1.836,0.18), layer=5, texttype=0))
b15zdnf11an1n64x5.add(gdstk.Label('=syn246', (1.944,0.45), layer=5, texttype=0))
b15zdnf11an1n64x5.add(gdstk.Label('=syn59', (1.944,0.0675), layer=5, texttype=0))
b15zdnf11an1n64x5.add(gdstk.Label('=syn247', (2.052,0.4725), layer=5, texttype=0))
b15zdnf11an1n64x5.add(gdstk.Label('=syn60', (2.052,0.18), layer=5, texttype=0))
b15zdnf11an1n64x5.add(gdstk.Label('=syn249', (2.268,0.5625), layer=5, texttype=0))
b15zdnf11an1n64x5.add(gdstk.Label('=syn200', (2.268,0.18), layer=5, texttype=0))
b15zdnf11an1n64x5.add(gdstk.Label('=syn250', (2.376,0.45), layer=5, texttype=0))
b15zdnf11an1n64x5.add(gdstk.Label('=syn1', (2.376,0.0675), layer=5, texttype=0))
b15zdnf11an1n64x5.add(gdstk.Label('=syn251', (2.484,0.4725), layer=5, texttype=0))
b15zdnf11an1n64x5.add(gdstk.Label('=syn2', (2.484,0.0675), layer=5, texttype=0))
b15zdnf11an1n64x5.add(gdstk.Label('=syn253', (2.7,0.5625), layer=5, texttype=0))
b15zdnf11an1n64x5.add(gdstk.Label('=syn204', (2.7,0.18), layer=5, texttype=0))
b15zdnf11an1n64x5.add(gdstk.Label('=syn254', (2.808,0.45), layer=5, texttype=0))
b15zdnf11an1n64x5.add(gdstk.Label('=syn7', (2.808,0.0675), layer=5, texttype=0))
b15zdnf11an1n64x5.add(gdstk.Label('=syn255', (2.916,0.4725), layer=5, texttype=0))
b15zdnf11an1n64x5.add(gdstk.Label('=syn8', (2.916,0.0675), layer=5, texttype=0))
b15zdnf11an1n64x5.add(gdstk.Label('=syn257', (3.132,0.5625), layer=5, texttype=0))
b15zdnf11an1n64x5.add(gdstk.Label('=syn201', (3.132,0.18), layer=5, texttype=0))
b15zdnf11an1n64x5.add(gdstk.Label('=syn258', (3.24,0.45), layer=5, texttype=0))
b15zdnf11an1n64x5.add(gdstk.Label('=syn3', (3.24,0.0675), layer=5, texttype=0))
b15zdnf11an1n64x5.add(gdstk.Label('=syn259', (3.348,0.4725), layer=5, texttype=0))
b15zdnf11an1n64x5.add(gdstk.Label('=syn4', (3.348,0.0675), layer=5, texttype=0))
b15zdnf11an1n64x5.add(gdstk.Label('=syn261', (3.564,0.5625), layer=5, texttype=0))
b15zdnf11an1n64x5.add(gdstk.Label('=syn212', (3.564,0.18), layer=5, texttype=0))
b15zdnf11an1n64x5.add(gdstk.Label('=syn262', (3.672,0.45), layer=5, texttype=0))
b15zdnf11an1n64x5.add(gdstk.Label('=syn15', (3.672,0.18), layer=5, texttype=0))
b15zdnf11an1n64x5.add(gdstk.Label('=syn263', (3.78,0.4725), layer=5, texttype=0))
b15zdnf11an1n64x5.add(gdstk.Label('=syn16', (3.78,0.0675), layer=5, texttype=0))
b15zdnf11an1n64x5.add(gdstk.Label('=syn265', (3.996,0.5625), layer=5, texttype=0))
b15zdnf11an1n64x5.add(gdstk.Label('=syn216', (3.996,0.18), layer=5, texttype=0))
b15zdnf11an1n64x5.add(gdstk.Label('=syn266', (4.104,0.45), layer=5, texttype=0))
b15zdnf11an1n64x5.add(gdstk.Label('=syn26', (4.104,0.18), layer=5, texttype=0))
b15zdnf11an1n64x5.add(gdstk.Label('=syn267', (4.212,0.4725), layer=5, texttype=0))
b15zdnf11an1n64x5.add(gdstk.Label('=syn27', (4.212,0.0675), layer=5, texttype=0))
b15zdnf11an1n64x5.add(gdstk.Label('=syn269', (4.428,0.5625), layer=5, texttype=0))
b15zdnf11an1n64x5.add(gdstk.Label('=syn223', (4.428,0.18), layer=5, texttype=0))
b15zdnf11an1n64x5.add(gdstk.Label('=syn270', (4.536,0.45), layer=5, texttype=0))
b15zdnf11an1n64x5.add(gdstk.Label('=syn30', (4.536,0.0675), layer=5, texttype=0))
b15zdnf11an1n64x5.add(gdstk.Label('=syn271', (4.644,0.4725), layer=5, texttype=0))
b15zdnf11an1n64x5.add(gdstk.Label('=syn31', (4.644,0.0675), layer=5, texttype=0))
b15zdnf11an1n64x5.add(gdstk.Label('=syn273', (4.86,0.5625), layer=5, texttype=0))
b15zdnf11an1n64x5.add(gdstk.Label('=syn219', (4.86,0.18), layer=5, texttype=0))
b15zdnf11an1n64x5.add(gdstk.Label('=syn274', (4.968,0.45), layer=5, texttype=0))
b15zdnf11an1n64x5.add(gdstk.Label('=syn35', (4.968,0.0675), layer=5, texttype=0))
b15zdnf11an1n64x5.add(gdstk.Label('=syn275', (5.076,0.4725), layer=5, texttype=0))
b15zdnf11an1n64x5.add(gdstk.Label('=syn36', (5.076,0.0675), layer=5, texttype=0))
b15zdnf11an1n64x5.add(gdstk.Label('=syn277', (5.292,0.5625), layer=5, texttype=0))
b15zdnf11an1n64x5.add(gdstk.Label('=syn224', (5.292,0.18), layer=5, texttype=0))
b15zdnf11an1n64x5.add(gdstk.Label('=syn278', (5.4,0.45), layer=5, texttype=0))
b15zdnf11an1n64x5.add(gdstk.Label('=syn33', (5.4,0.0675), layer=5, texttype=0))
b15zdnf11an1n64x5.add(gdstk.Label('=syn279', (5.508,0.4725), layer=5, texttype=0))
b15zdnf11an1n64x5.add(gdstk.Label('=syn34', (5.508,0.0675), layer=5, texttype=0))
b15zdnf11an1n64x5.add(gdstk.Label('=syn281', (5.724,0.5625), layer=5, texttype=0))
b15zdnf11an1n64x5.add(gdstk.Label('=syn205', (5.724,0.0675), layer=5, texttype=0))
b15zdnf11an1n64x5.add(gdstk.Label('=syn282', (5.832,0.45), layer=5, texttype=0))
b15zdnf11an1n64x5.add(gdstk.Label('=syn10', (5.832,0.0675), layer=5, texttype=0))
b15zdnf11an1n64x5.add(gdstk.Label('=syn283', (5.94,0.4725), layer=5, texttype=0))
b15zdnf11an1n64x5.add(gdstk.Label('=syn11', (5.94,0.0675), layer=5, texttype=0))
b15zdnf11an1n64x5.add(gdstk.Label('=syn285', (6.156,0.5625), layer=5, texttype=0))
b15zdnf11an1n64x5.add(gdstk.Label('=syn209', (6.156,0.0675), layer=5, texttype=0))
b15zdnf11an1n64x5.add(gdstk.Label('=syn286', (6.264,0.45), layer=5, texttype=0))
b15zdnf11an1n64x5.add(gdstk.Label('=syn21', (6.264,0.0675), layer=5, texttype=0))
b15zdnf11an1n64x5.add(gdstk.Label('=syn287', (6.372,0.4725), layer=5, texttype=0))
b15zdnf11an1n64x5.add(gdstk.Label('=syn22', (6.372,0.0675), layer=5, texttype=0))
b15zdnf11an1n64x5.add(gdstk.Label('=syn289', (6.588,0.45), layer=5, texttype=0))
b15zdnf11an1n64x5.add(gdstk.Label('=syn206', (6.588,0.0675), layer=5, texttype=0))
b15zdnf11an1n64x5.add(gdstk.Label('=syn291', (6.696,0.45), layer=5, texttype=0))
b15zdnf11an1n64x5.add(gdstk.Label('=syn13', (6.696,0.0675), layer=5, texttype=0))
b15zdnf11an1n64x5.add(gdstk.Label('=syn292', (6.804,0.4725), layer=5, texttype=0))
b15zdnf11an1n64x5.add(gdstk.Label('=syn14', (6.804,0.0675), layer=5, texttype=0))

lib.write_gds('b15zdnf11an1n64x5.gds')
